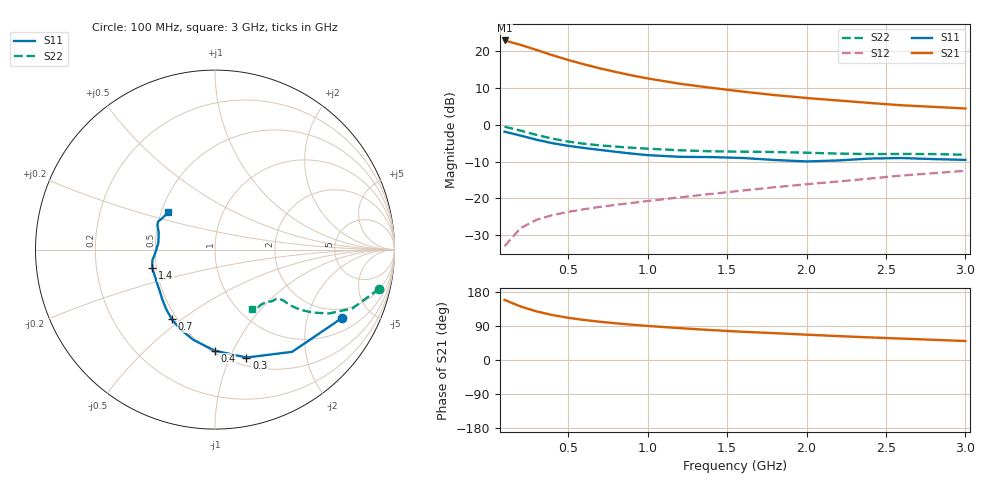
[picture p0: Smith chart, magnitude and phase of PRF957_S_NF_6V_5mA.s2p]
! Philips part #:  PRF957  Date:  Nov 1998
! Bias condition:  Vce=6V, Ic=5mA
#  MHz  S  MA  R 50
! Freq  S11  S21  S12  S22
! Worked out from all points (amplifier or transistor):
!   20 points, 100 MHz to 3 GHz, reference 50 ohm
!   highest |S21| = 22.8 dB at 100 MHz (marker M1)
!   |S21| within 3 dB of that: start of sweep to 331.1 MHz
!   unconditionally stable (mu >= 1): 1.473 GHz to end of sweep
!   at 400 MHz: K = 0.47, MSG = 21.7 dB, |S12| = -24.5 dB
!   at 1.2 GHz: K = 0.96, MSG = 15.4 dB, |S12| = -19.7 dB
!   at 3 GHz: K = 1.05, MAG = 7.1 dB, |S12| = -12.5 dB
!   lowest NFmin = 0.97 dB at 500 MHz
!   S11 on the Smith chart (normalised r, x): 100 MHz: 1.54, -3.31; 300 MHz: 0.58, -1.15; 400 MHz: 0.52, -0.85; 700 MHz: 0.47, -0.46; 1.4 GHz: 0.47, -0.11; 3 GHz: 0.54, +0.25
100  0.8043 -28.2  13.87 158.4  0.02259 75.4  0.9401 -13.4
200  0.7136 -53.0  12.08 141.3  0.03964 65.2  0.8319 -23.2
300  0.6263 -73.8  10.33 128.3  0.0513 59.1  0.728 -29.3
400  0.5626 -90.3  8.769 118.7  0.05945 56.1  0.6483 -32.8
500  0.5175 -103.4  7.542 111.5  0.06591 55.2  0.5915 -34.8
600  0.4839 -113.7  6.58 105.7  0.07157 55.3  0.552 -35.9
700  0.4558 -122.0  5.802 100.9  0.07697 56.0  0.5246 -36.4
800  0.4295 -129.2  5.185 96.8  0.08202 57.1  0.5043 -36.6
900  0.4061 -135.9  4.662 93.2  0.08703 58.4  0.4877 -36.6
1000  0.3871 -142.4  4.239 89.9  0.09233 59.8  0.4737 -36.7
1200  0.3674 -154.7  3.6 84.1  0.1035 62.1  0.4505 -37.4
1400  0.364 -163.9  3.164 79.0  0.1154 64.2  0.4364 -39.2
1600  0.354 -170.3  2.807 74.4  0.1283 66.2  0.4312 -41.2
1800  0.3323 -177.2  2.521 70.8  0.1423 67.9  0.4268 -42.6
2000  0.3178 172.8  2.301 66.9  0.156 69.2  0.4175 -44.0
2200  0.328 163.0  2.128 63.1  0.1702 70.2  0.4058 -46.6
2400  0.3479 157.2  1.971 59.6  0.1864 70.8  0.4 -50.2
2600  0.3537 153.8  1.833 56.5  0.2048 71.2  0.4015 -53.4
2800  0.3419 149.3  1.745 53.3  0.2201 71.7  0.4 -55.7
3000  0.3335 141.6  1.659 50.1  0.2374 72.2  0.3916 -58.2
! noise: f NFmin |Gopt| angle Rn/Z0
500  0.97  0.33  28  0.19
800  1.17  0.28  64  0.21
900  1.2  0.34  52  0.22
1000  1.26  0.24  74  0.26
1500  1.31  0.32  113  0.18
2000  1.71  0.29  178  0.14
